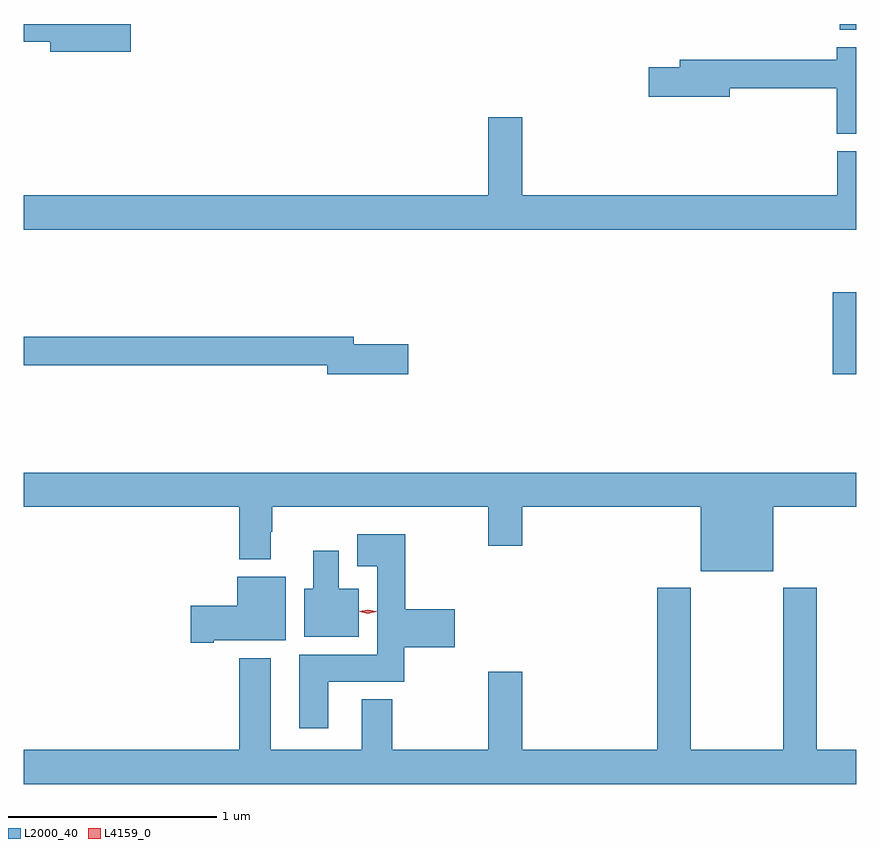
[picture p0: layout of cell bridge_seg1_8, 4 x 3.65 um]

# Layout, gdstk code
import gdstk
lib = gdstk.Library(unit=1e-6, precision=1e-09)
def R(c, l, rs):  # rectangles x0, y0, x1, y1
    for r in rs: c.add(gdstk.rectangle(r[:2], r[2:], *l))
def P(c, l, *ps):  # polygons
    for p in ps: c.add(gdstk.Polygon(p, *l))
L2000_40 = (2000, 40)
L4159_0 = (4159, 0)

bridge_seg1_8 = lib.new_cell('bridge_seg1_8')
R(bridge_seg1_8, L2000_40, [(766.064,513.741,766.176,514.135), (766.097,515.397,766.176,515.424)])
P(bridge_seg1_8, L2000_40, [(762.691,515.424),(762.176,515.424),(762.176,515.338),(762.302,515.338),(762.302,515.291),(762.691,515.291)],
  [(766.176,515.312),(766.082,515.312),(766.082,515.252),(765.329,515.252),(765.329,515.216),(765.18,515.216),(765.18,515.074),(765.568,515.074),(765.568,515.116),(766.082,515.116),(766.082,514.897),(766.176,514.897)],
  [(766.176,514.812),(766.085,514.812),(766.085,514.6),(764.572,514.6),(764.572,514.975),(764.408,514.975),(764.408,514.6),(762.176,514.6),(762.176,514.436),(766.176,514.436)],
  [(764.023,513.884),(763.762,513.884),(763.762,513.92),(762.176,513.92),(762.176,513.784),(763.634,513.784),(763.634,513.742),(764.023,513.742)],
  [(762.176,513.104),(763.211,513.104),(763.211,512.852),(763.363,512.852),(763.363,512.984),(763.371,512.984),(763.371,513.104),(764.408,513.104),(764.408,512.916),(764.572,512.916),(764.572,513.104),(765.428,513.104),(765.428,512.795),(765.778,512.795),(765.778,513.104),(766.176,513.104),(766.176,513.268),(762.176,513.268)],
  [(763.639,512.264),(764.004,512.264),(764.004,512.429),(764.248,512.429),(764.248,512.612),(764.009,512.612),(764.009,512.971),(763.779,512.971),(763.779,512.819),(763.874,512.819),(763.874,512.392),(763.499,512.392),(763.499,512.04),(763.639,512.04)],
  [(763.786,512.71),(763.69,512.71),(763.69,512.893),(763.568,512.893),(763.568,512.71),(763.523,512.71),(763.523,512.48),(763.786,512.48)],
  [(763.09,512.462),(763.435,512.462),(763.435,512.767),(763.202,512.767),(763.202,512.628),(762.978,512.628),(762.978,512.45),(763.09,512.45)],
  [(766.176,511.936),(765.986,511.936),(765.986,512.716),(765.826,512.716),(765.826,511.936),(765.381,511.936),(765.381,512.716),(765.221,512.716),(765.221,511.936),(764.572,511.936),(764.572,512.311),(764.408,512.311),(764.408,511.936),(763.947,511.936),(763.947,512.179),(763.799,512.179),(763.799,511.936),(763.363,511.936),(763.363,512.377),(763.211,512.377),(763.211,511.936),(762.176,511.936),(762.176,511.772),(766.176,511.772)])
P(bridge_seg1_8, L4159_0, [(763.83,512.59),(763.791,512.6),(763.791,512.6),(763.791,512.601),(763.83,512.61),(763.869,512.601),(763.869,512.6),(763.869,512.6)])

lib.write_gds('bridge_seg1_8.gds')
